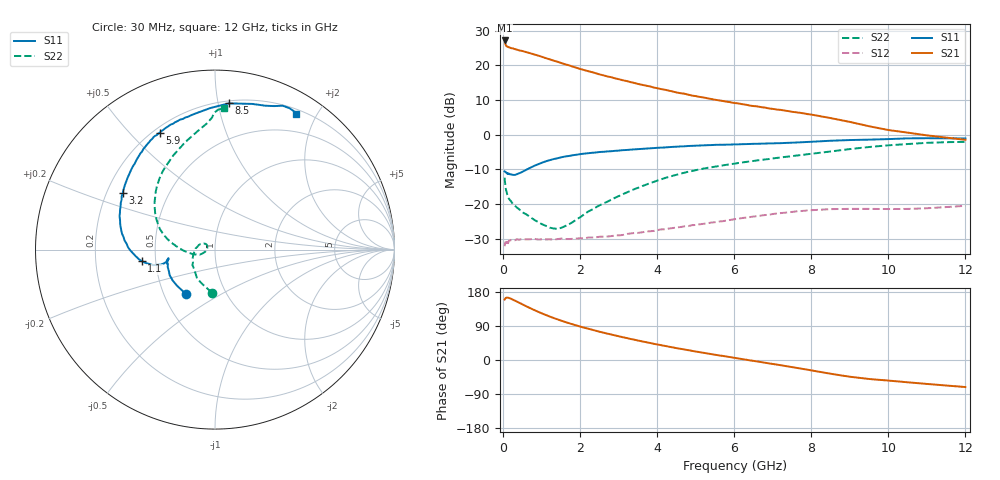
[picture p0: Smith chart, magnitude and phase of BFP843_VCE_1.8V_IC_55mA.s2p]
! Infineon Technologies  Discrete & RF Semiconductors
! BFP843
! VCE =  1.8 V,  IC =  55 mA
! Common Emitter S-Parameters:  Aug 2013
# GHz  S  MA  R  50
!  f  S11  S21  S12  S22
! GHz  MAG  ANG  MAG  ANG  MAG  ANG  MAG  ANG
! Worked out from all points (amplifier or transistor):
!   103 points, 30 MHz to 12 GHz, reference 50 ohm
!   highest |S21| = 27.2 dB at 30 MHz (marker M1)
!   |S21| within 3 dB of that: start of sweep to 472.7 MHz
!   unconditionally stable (mu >= 1): 30.71 MHz to 10.84 GHz
!   at 400 MHz: K = 1.18, MAG = 24.7 dB, |S12| = -30.3 dB
!   at 3.7 GHz: K = 1.56, MAG = 16.6 dB, |S12| = -27.9 dB
!   at 12 GHz: K = 0.94, MSG = 9.5 dB, |S12| = -20.5 dB
!   S11 on the Smith chart (normalised r, x): 30 MHz: 0.64, -0.35; 1.1 GHz: 0.42, -0.06; 3.2 GHz: 0.27, +0.26; 5.9 GHz: 0.23, +0.61; 8.5 GHz: 0.22, +1.08; 12 GHz: 0.25, +1.74
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0.03  0.2954 -123.8  22.87 159.4  0.0247 30.0  0.2398 -94.2
0.04  0.292 -136.6  21.18 160.6  0.0261 21.7  0.2056 -109.6
0.05  0.2919 -144.0  20.37 163.0  0.0282 11.0  0.1894 -121.9
0.07  0.2835 -155.1  19.21 164.3  0.0274 16.8  0.1566 -139.5
0.12  0.2736 -165.1  18.4 164.4  0.0273 12.5  0.1289 -161.8
0.5  0.2935 -164.9  16.06 146.5  0.0311 6.7  0.0756 154.7
0.6  0.3137 -164.5  15.48 141.4  0.031 7.7  0.0707 151.5
0.9  0.3745 -167.7  13.86 127.3  0.0308 5.1  0.055 149.0
1.1  0.4136 -171.1  12.72 118.8  0.0309 7.6  0.0486 154.8
1.3  0.445 -175.5  11.71 110.9  0.0308 9.1  0.0445 165.8
1.6  0.485 178.4  10.38 100.4  0.0313 11.1  0.048 -176.0
2.1  0.5338 168.2  8.553 85.2  0.032 14.8  0.0714 -163.3
2.6  0.5674 159.0  7.175 72.1  0.0339 18.2  0.1022 -164.0
3.2  0.6023 148.6  5.946 58.0  0.037 21.6  0.1469 -172.9
4.1  0.652 134.4  4.546 39.0  0.0431 24.4  0.2274 173.2
4.9  0.6907 124.5  3.673 24.1  0.0496 23.7  0.2996 163.5
5.9  0.7207 115.2  2.937 7.5  0.0592 21.7  0.3758 151.1
6.1  0.7263 113.4  2.83 4.2  0.0615 21.4  0.3907 148.6
7.3  0.7601 100.1  2.231 -15.5  0.075 12.6  0.4774 132.8
8.5  0.8186 84.6  1.737 -36.3  0.0845 0.4  0.5734 114.0
10.5  0.8859 64.8  1.072 -58.8  0.0851 -13.0  0.7338 91.4
12  0.8824 59.1  0.845 -71.4  0.0943 -20.0  0.79 86.2
